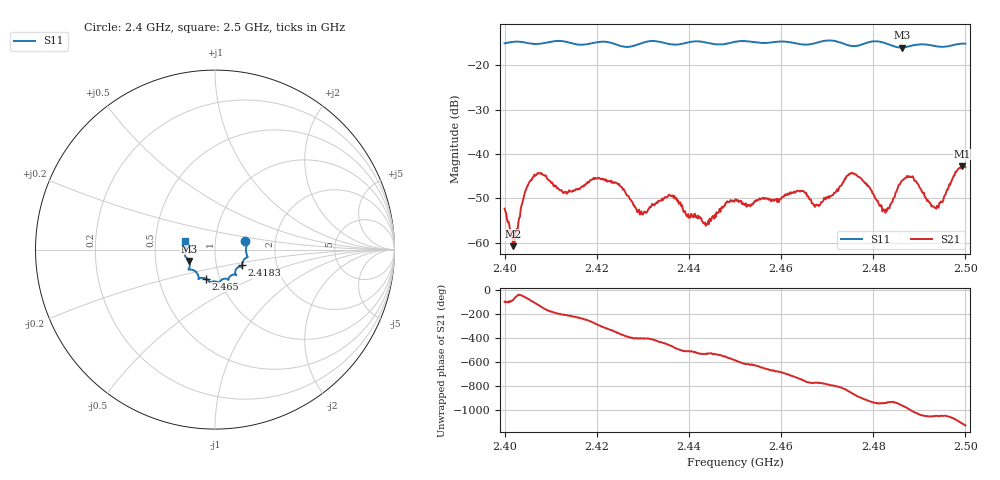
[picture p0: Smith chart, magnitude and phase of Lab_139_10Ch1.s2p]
# Hz S RI R 50
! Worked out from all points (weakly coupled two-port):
!   601 points, 2.4 GHz to 2.5 GHz, reference 50 ohm
!   highest |S21| = -42.68 dB at 2.4993 GHz (marker M1); lowest = -60.7 dB at 2.4018 GHz (marker M2)
!   lowest |S11| = -16.1 dB at 2.4862 GHz (marker M3), VSWR 1.37, Z = 37.1 - j4.81 ohm
!   |S11| at or under -10 dB: start of sweep to end of sweep
!   S12 and S22 are empty: the file has one direction only
!   S11 on the Smith chart (normalised r, x): 2.4 GHz: 1.40, +0.13; 2.4183 GHz: 1.33, -0.24; 2.465 GHz: 0.86, -0.29; 2.5 GHz: 0.71, +0.07
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2.4e9  0.1694 0.046  -0.000439 -0.00239  0 0  0 0
2.401833e9  0.1784 0.0373  3.32e-05 -0.00092  0 0  0 0
2.404833e9  0.1763 0.0212  0.00137 -0.00403  0 0  0 0
2.406833e9  0.1723 -0.00121  -0.00261 -0.00517  0 0  0 0
2.413e9  0.179 -0.0437  -0.00324 0.00185  0 0  0 0
2.416667e9  0.1547 -0.068  -0.00225 0.00359  0 0  0 0
2.418333e9  0.1499 -0.0871  -0.000947 0.00473  0 0  0 0
2.4245e9  0.1387 -0.0953  0.00464 -4.87e-05  0 0  0 0
2.429833e9  0.1136 -0.1358  0.0015 -0.00146  0 0  0 0
2.433333e9  0.1174 -0.1411  0.00103 -0.00278  0 0  0 0
2.436333e9  0.0964 -0.1407  -0.00118 -0.0032  0 0  0 0
2.4435e9  0.0708 -0.1654  -0.00169 -0.000202  0 0  0 0
2.45e9  0.0252 -0.1807  -0.00211 0.00215  0 0  0 0
2.465e9  -0.0524 -0.1617  0.00307 -0.00217  0 0  0 0
2.466667e9  -0.0713 -0.1571  0.00156 -0.0023  0 0  0 0
2.4755e9  -0.1054 -0.1251  -0.00473 -0.00373  0 0  0 0
2.483333e9  -0.1414 -0.0963  -0.00203 0.00138  0 0  0 0
2.486167e9  -0.144 -0.0631  -0.00247 0.00433  0 0  0 0
2.488333e9  -0.1592 -0.0446  0.00135 0.00532  0 0  0 0
2.493667e9  -0.1621 -0.0127  0.00204 0.00132  0 0  0 0
2.499333e9  -0.1681 0.0439  0.00637 -0.00365  0 0  0 0
2.5e9  -0.1673 0.0469  0.00491 -0.00519  0 0  0 0
